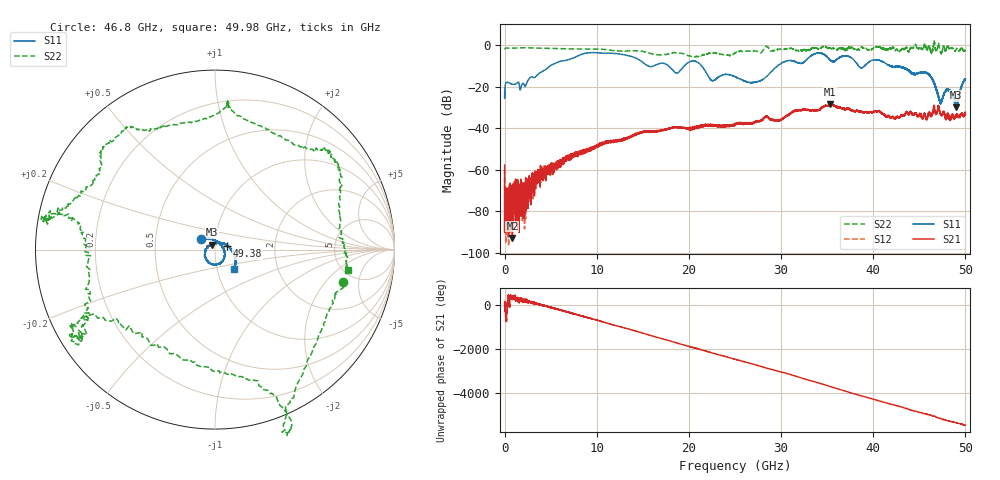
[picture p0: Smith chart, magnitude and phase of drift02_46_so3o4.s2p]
!Created with skrf (http://scikit-rf.org).
# Hz S RI R 50.0
!freq ReS11 ImS11 ReS21 ImS21 ReS12 ImS12 ReS22 ImS22
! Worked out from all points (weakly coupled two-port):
!   10001 points, 300 kHz to 50 GHz, reference 50 ohm
!   highest |S21| = -28.48 dB at 35.32 GHz (marker M1); lowest = -92.9 dB at 850.3 MHz (marker M2)
!   lowest |S11| = -30.0 dB at 49.02 GHz (marker M3), VSWR 1.07, Z = 48.4 + j2.64 ohm
!   |S11| at or under -10 dB: start of sweep to 4.957 GHz; 21.38 GHz to 29.63 GHz (8.249 GHz wide, 32.3 % of centre); 41.87 GHz to end of sweep (the widest 3 of 8)
!   |S22| runs from -5.7 to 2.2 dB; largest |S21 - S12| = 0.0037
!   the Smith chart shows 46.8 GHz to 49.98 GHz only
!   S11 on the Smith chart (normalised r, x): 46.8 GHz: 0.85, +0.10; 49.38 GHz: 1.15, +0.05; 49.98 GHz: 1.20, -0.26
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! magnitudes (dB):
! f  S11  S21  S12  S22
! 300 kHz  -22.5  -57.8  -59.7  -2.1
! 255.3 MHz  -17.9  -74.8  -80.0  -1.4
! 850.3 MHz  -18.9  -92.9  -70.0  -1.5
! 8.335 GHz  -4.5  -51.3  -51.4  -1.9
! 16.67 GHz  -9.1  -41.4  -41.6  -4.7
! 18.7 GHz  -13.5  -39.6  -39.6  -3.7
! 20.6 GHz  -7.7  -39.6  -39.6  -5.7
! 22.51 GHz  -17.1  -38.6  -38.6  -3.7
! 25 GHz  -15.3  -38.2  -38.2  -3.9
! 27.47 GHz  -17.6  -36.8  -36.5  -3.2
! 30.22 GHz  -8.3  -35.4  -35.2  -2.1
! 33.34 GHz  -4.9  -31.5  -31.3  -1.6
! 35.32 GHz  -7.1  -28.5  -28.7  -1.3
! 41.67 GHz  -9.6  -33.9  -34.0  -1.9
! 45.8 GHz  -13.7  -35.3  -35.5  -2.4
! 46.8 GHz  -20.3  -33.2  -33.1  -2.7
! 47.28 GHz  -27.3  -32.9  -33.1  -3.3
! 48.14 GHz  -21.2  -33.4  -33.2  -0.8
! 49.02 GHz  -30.0  -34.0  -34.5  -1.9
! 49.38 GHz  -22.9  -34.3  -34.3  -2.6
! 49.98 GHz  -16.5  -32.7  -32.8  -2.5
! 50 GHz  -16.3  -32.7  -33.1  -2.7
